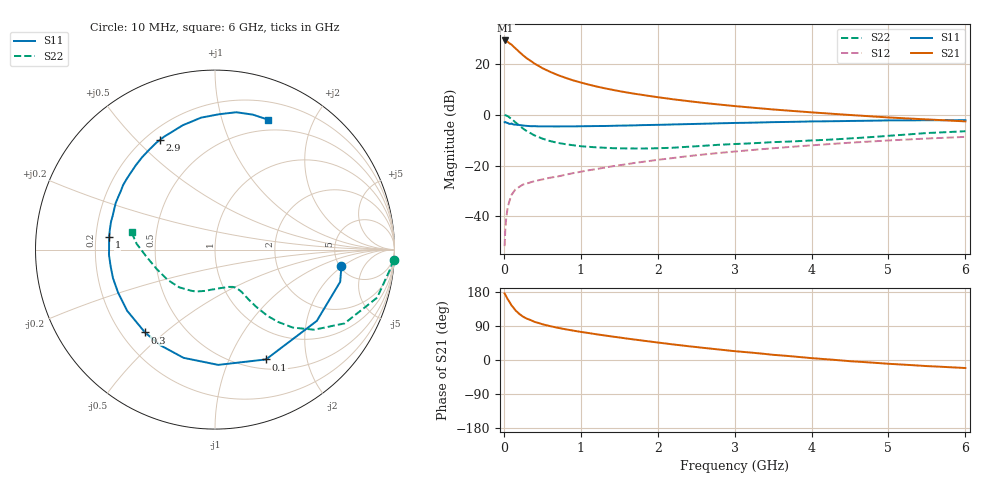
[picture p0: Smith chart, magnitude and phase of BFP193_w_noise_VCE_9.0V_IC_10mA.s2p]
! Infineon Technologies  Discrete & RF Semiconductors
! BFP193
! VCE =  9.0 V,  IC =  10 mA
! Common Emitter S-Parameters:  Jan 2017
# GHz  S  MA  R  50
!  f  S11  S21  S12  S22
! GHz  MAG  ANG  MAG  ANG  MAG  ANG  MAG  ANG
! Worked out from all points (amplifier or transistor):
!   77 points, 10 MHz to 6 GHz, reference 50 ohm
!   highest |S21| = 29.2 dB at 20 MHz (marker M1)
!   |S21| within 3 dB of that: start of sweep to 147 MHz
!   unconditionally stable (mu >= 1): 1.163 GHz to 2.581 GHz
!   at 130 MHz: K = 0.22, MSG = 28.5 dB, |S12| = -30.2 dB
!   at 2.2 GHz: K = 1.03, MAG = 10.4 dB, |S12| = -17.0 dB
!   at 6 GHz: K = 0.86, MSG = 3.0 dB, |S12| = -8.7 dB
!   lowest NFmin = 0.87 dB at 450 MHz
!   S11 on the Smith chart (normalised r, x): 10 MHz: 5.19, -1.89; 100 MHz: 0.61, -1.38; 300 MHz: 0.30, -0.43; 1 GHz: 0.26, +0.05; 2.9 GHz: 0.26, +0.59; 6 GHz: 0.38, +1.42
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0.01  0.7104 -7.3  28.72 175.7  0.0026 81.3  0.9967 -3.3
0.02  0.7202 -14.4  28.94 171.9  0.0059 86.9  0.9797 -6.8
0.05  0.6926 -35.0  27.28 160.3  0.0148 74.9  0.9421 -16.5
0.1  0.6747 -65.1  23.97 143.9  0.0265 63.6  0.8305 -29.7
0.15  0.6425 -88.4  20.3 131.2  0.0338 54.0  0.7107 -38.9
0.2  0.628 -106.2  17.25 121.8  0.0381 49.6  0.6132 -45.1
0.25  0.6138 -119.7  14.79 114.3  0.0425 45.3  0.5346 -48.9
0.3  0.6044 -130.2  12.83 109.0  0.0444 43.9  0.4736 -51.5
0.4  0.5964 -145.1  10.12 100.5  0.0496 43.2  0.3912 -54.3
0.5  0.5908 -156.1  8.274 94.4  0.0534 43.4  0.3397 -55.9
0.6  0.5902 -164.4  7.008 89.4  0.0577 44.7  0.3042 -56.9
0.7  0.5889 -171.0  6.05 85.1  0.061 46.3  0.2801 -57.8
0.9  0.5905 178.1  4.751 77.6  0.071 49.2  0.2513 -60.2
1  0.5941 173.3  4.306 74.2  0.0757 49.5  0.2404 -61.8
1.1  0.5963 169.3  3.929 71.2  0.0808 50.6  0.2344 -63.3
1.5  0.6113 154.7  2.916 59.5  0.1015 52.1  0.2181 -73.2
2.1  0.6382 136.0  2.114 43.7  0.1353 51.0  0.2219 -92.6
2.9  0.684 116.5  1.534 25.5  0.1831 46.1  0.2609 -117.6
3.1  0.6934 112.3  1.437 21.6  0.1949 44.4  0.2692 -123.3
4.1  0.7413 94.4  1.088 3.4  0.2564 35.4  0.3168 -150.2
5.1  0.7749 79.7  0.869 -11.1  0.3175 24.6  0.3947 -176.5
6  0.7817 67.9  0.741 -21.2  0.3673 14.3  0.4741 168.4
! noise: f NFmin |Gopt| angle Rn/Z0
0.45  0.87  0.21  156  0.07
0.9  1  0.35  173  0.06
1.9  1.75  0.57  -146  0.13
2.4  2.13  0.63  -128  0.31
